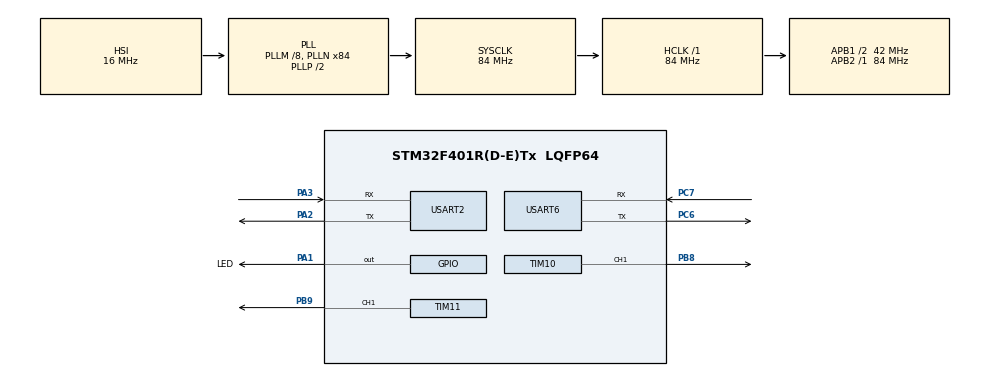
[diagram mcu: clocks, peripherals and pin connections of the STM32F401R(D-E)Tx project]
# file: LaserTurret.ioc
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FREERTOS.Mutexes01=myMutex01,Dynamic,NULL
FREERTOS.Tasks01=defaultTask,0,128,Thread1,Default,NULL,Dynamic,NULL,NULL;myTask02,-3,128,Thread2,Default,NULL,Dynamic,NULL,NULL
Mcu.Family=STM32F4
Mcu.Name=STM32F401R(D-E)Tx
Mcu.Package=LQFP64
NVIC.PriorityGroup=NVIC_PRIORITYGROUP_4
NVIC.TIM3_IRQn=true\:0\:0\:false\:false\:true\:false\:false
NVIC.TimeBase=TIM3_IRQn
NVIC.TimeBaseIP=TIM3
PA1.GPIO_Label=LED
PA1.Signal=GPIO_Output
PA2.Mode=Asynchronous
PA2.Signal=USART2_TX
PA3.Mode=Asynchronous
PA3.Signal=USART2_RX
PB8.Signal=S_TIM10_CH1
PB9.Signal=S_TIM11_CH1
PC6.Mode=Asynchronous
PC6.Signal=USART6_TX
PC7.Mode=Asynchronous
PC7.Signal=USART6_RX
ProjectManager.HeapSize=0x200
ProjectManager.StackSize=0x400
ProjectManager.TargetToolchain=TrueSTUDIO
RCC.48MHZClocksFreq_Value=33600000
RCC.AHBFreq_Value=84000000
RCC.APB1CLKDivider=RCC_HCLK_DIV2
RCC.APB1Freq_Value=42000000
RCC.APB1TimFreq_Value=84000000
RCC.APB2Freq_Value=84000000
RCC.APB2TimFreq_Value=84000000
RCC.CortexFreq_Value=84000000
RCC.HCLKFreq_Value=84000000
RCC.HSE_VALUE=25000000
RCC.HSI_VALUE=16000000
RCC.LSE_VALUE=32768
RCC.PLLM=8
RCC.PLLN=84
RCC.PLLQ=5
RCC.SYSCLKFreq_VALUE=84000000
RCC.SYSCLKSource=RCC_SYSCLKSOURCE_PLLCLK
RCC.VCOOutputFreq_Value=168000000
SH.S_TIM10_CH1.0=TIM10_CH1,PWM Generation1 CH1
SH.S_TIM11_CH1.0=TIM11_CH1,PWM Generation1 CH1
TIM10.Channel=TIM_CHANNEL_1
TIM10.Period=64615
TIM10.Prescaler=25
TIM10.Pulse=4846
TIM11.Channel=TIM_CHANNEL_1
TIM11.Period=64615
TIM11.Prescaler=25
TIM11.Pulse=4846
USART2.VirtualMode=VM_ASYNC
USART6.VirtualMode=VM_ASYNC
VP_FREERTOS_VS_ENABLE.Mode=Enabled
VP_SYS_VS_tim3.Mode=TIM3
VP_TIM10_VS_ClockSourceINT.Mode=Enable_Timer
VP_TIM11_VS_ClockSourceINT.Mode=Enable_Timer
board=custom

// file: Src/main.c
/**
  ******************************************************************************
  * @file           : main.c
  * @brief          : Main program body
  ******************************************************************************
  * This notice applies to any and all portions of this file
  * that are not between comment pairs USER CODE BEGIN and
  * USER CODE END. Other portions of this file, whether
  * inserted by the user or by software development tools
  * are owned by their respective copyright owners.
  *
  * Copyright (c) 2018 STMicroelectronics International N.V.
  * All rights reserved.
  *
  * Redistribution and use in source and binary forms, with or without
  * modification, are permitted, provided that the following conditions are met:
  *
  * 1. Redistribution of source code must retain the above copyright notice,
  *    this list of conditions and the following disclaimer.
  * 2. Redistributions in binary form must reproduce the above copyright notice,
  *    this list of conditions and the following disclaimer in the documentation
  *    and/or other materials provided with the distribution.
  * 3. Neither the name of STMicroelectronics nor the names of other
  *    contributors to this software may be used to endorse or promote products
  *    derived from this software without specific written permission.
  * 4. This software, including modifications and/or derivative works of this
  *    software, must execute solely and exclusively on microcontroller or
  *    microprocessor devices manufactured by or for STMicroelectronics.
  * 5. Redistribution and use of this software other than as permitted under
  *    this license is void and will automatically terminate your rights under
  *    this license.
  *
  * THIS SOFTWARE IS PROVIDED BY STMICROELECTRONICS AND CONTRIBUTORS "AS IS"
  * AND ANY EXPRESS, IMPLIED OR STATUTORY WARRANTIES, INCLUDING, BUT NOT
  * LIMITED TO, THE IMPLIED WARRANTIES OF MERCHANTABILITY, FITNESS FOR A
  * PARTICULAR PURPOSE AND NON-INFRINGEMENT OF THIRD PARTY INTELLECTUAL PROPERTY
  * RIGHTS ARE DISCLAIMED TO THE FULLEST EXTENT PERMITTED BY LAW. IN NO EVENT
  * SHALL STMICROELECTRONICS OR CONTRIBUTORS BE LIABLE FOR ANY DIRECT, INDIRECT,
  * INCIDENTAL, SPECIAL, EXEMPLARY, OR CONSEQUENTIAL DAMAGES (INCLUDING, BUT NOT
  * LIMITED TO, PROCUREMENT OF SUBSTITUTE GOODS OR SERVICES; LOSS OF USE, DATA,
  * OR PROFITS; OR BUSINESS INTERRUPTION) HOWEVER CAUSED AND ON ANY THEORY OF
  * LIABILITY, WHETHER IN CONTRACT, STRICT LIABILITY, OR TORT (INCLUDING
  * NEGLIGENCE OR OTHERWISE) ARISING IN ANY WAY OUT OF THE USE OF THIS SOFTWARE,
  * EVEN IF ADVISED OF THE POSSIBILITY OF SUCH DAMAGE.
  *
  ******************************************************************************
  */
#include "main.h"
#include "stm32f4xx_hal.h"
#include "cmsis_os.h"

/* USER CODE BEGIN Includes */
#include <stdio.h>
#include <stdlib.h>
#include <math.h>
/* USER CODE END Includes */

TIM_HandleTypeDef htim10;
TIM_HandleTypeDef htim11;

UART_HandleTypeDef huart2;
UART_HandleTypeDef huart6;

osThreadId defaultTaskHandle;
osThreadId myTask02Handle;
osMutexId myMutex01Handle;

/* USER CODE BEGIN PV */

/* Private variables ---------------------------------------------------------*/
char UARTdata[8];
char Xdata[4];
char Ydata[4];
uint32_t X;
uint32_t Y;
uint8_t UARTerror;
uint32_t xTemp;
uint32_t yTemp;

/* USER CODE END PV */

void SystemClock_Config(void);
static void MX_GPIO_Init(void);
static void MX_USART2_UART_Init(void);
static void MX_TIM10_Init(void);
static void MX_TIM11_Init(void);
static void MX_USART6_UART_Init(void);
void Thread1(void const * argument);
void Thread2(void const * argument);
void HAL_TIM_MspPostInit(TIM_HandleTypeDef *htim);

/* USER CODE BEGIN PFP */
/* Private function prototypes -----------------------------------------------*/

/* USER CODE END PFP */

/* USER CODE BEGIN 0 */
void UART_Send_Int(UART_HandleTypeDef huart, int intIn)
{
	char intOut[sizeof(intIn)];
	sprintf(intOut, "%d", intIn);
	HAL_UART_Transmit(&huart, intOut, sizeof(intOut), 0xFFF);
	HAL_UART_Transmit(&huart, '\n', 1, 0xFFF);
}

void UART_Receive_Int(UART_HandleTypeDef huart, char dataArr[])
{
	  HAL_UART_Receive(&huart, dataArr, 8, 0xFFF);

	  if(dataArr[0] != '\0')
	  {
		  for(int i = 0; i <= 3; i++)
		  {
			  if(dataArr[i] == 'E')
			  {
				  Xdata[i] = '\0';
				  break;
			  }
			  Xdata[i] = dataArr[i];
		  }

		  for(int j = 4; j <= 7; j++)
		  {
			  if(dataArr[j] == 'E')
			  {
				  Ydata[j-4] = '\0';
				  break;
			  }
			  Ydata[j-4] = dataArr[j];
		  }
	  }
}

void servoPWM(uint32_t x, uint32_t y)
{
	xTemp = 1700+(5*x);
	yTemp = 1700+(5*y);

	//UART_Send_Int(huart2, xTemp);
	  __HAL_TIM_SET_COMPARE(&htim10, TIM_CHANNEL_1, xTemp);
	  __HAL_TIM_SET_COMPARE(&htim11, TIM_CHANNEL_1, yTemp);
}

/* USER CODE END 0 */

int main(void)
{
  /* USER CODE BEGIN 1 */
	UARTdata[0] = '\0';
  /* USER CODE END 1 */

  /* MCU Configuration----------------------------------------------------------*/

  /* Reset of all peripherals, Initializes the Flash interface and the Systick. */
  HAL_Init();

  /* Configure the system clock */
  SystemClock_Config();

  /* Initialize all configured peripherals */
  MX_GPIO_Init();
  MX_USART2_UART_Init();
  MX_TIM10_Init();
  MX_TIM11_Init();
  MX_USART6_UART_Init();
  /* USER CODE BEGIN 2 */
  HAL_GPIO_WritePin(GPIOA, GPIO_PIN_1, 0);
  /* USER CODE END 2 */

  /* Create the mutex(es) */
  /* definition and creation of myMutex01 */
  osMutexDef(myMutex01);
  myMutex01Handle = osMutexCreate(osMutex(myMutex01));

  /* Create the thread(s) */
  /* definition and creation of defaultTask */
  osThreadDef(defaultTask, Thread1, osPriorityNormal, 0, 128);
  defaultTaskHandle = osThreadCreate(osThread(defaultTask), NULL);

  /* definition and creation of myTask02 */
  osThreadDef(myTask02, Thread2, osPriorityIdle, 0, 128);
  myTask02Handle = osThreadCreate(osThread(myTask02), NULL);

  /* USER CODE BEGIN RTOS_QUEUES */
  /* add queues, ... */
  //__HAL_TIM_SET_COMPARE(&htim10, TIM_CHANNEL_1, 3000);
  //__HAL_TIM_SET_COMPARE(&htim11, TIM_CHANNEL_1, 3000);
  /* USER CODE END RTOS_QUEUES */

  /* Start scheduler */
  osKernelStart();

  /* We should never get here as control is now taken by the scheduler */

  /* Infinite loop */
  /* USER CODE BEGIN WHILE */
  while (1)
  {

	  //UART_Send_Int(huart2, UARTdata);
  /* USER CODE END WHILE */

  }

}

void SystemClock_Config(void)
{

  RCC_OscInitTypeDef RCC_OscInitStruct;
  RCC_ClkInitTypeDef RCC_ClkInitStruct;

    /**Configure the main internal regulator output voltage
    */
  __HAL_RCC_PWR_CLK_ENABLE();

  __HAL_PWR_VOLTAGESCALING_CONFIG(PWR_REGULATOR_VOLTAGE_SCALE2);

    /**Initializes the CPU, AHB and APB busses clocks
    */
  RCC_OscInitStruct.OscillatorType = RCC_OSCILLATORTYPE_HSI;
  RCC_OscInitStruct.HSIState = RCC_HSI_ON;
  RCC_OscInitStruct.HSICalibrationValue = 16;
  RCC_OscInitStruct.PLL.PLLState = RCC_PLL_ON;
  RCC_OscInitStruct.PLL.PLLSource = RCC_PLLSOURCE_HSI;
  RCC_OscInitStruct.PLL.PLLM = 8;
  RCC_OscInitStruct.PLL.PLLN = 84;
  RCC_OscInitStruct.PLL.PLLP = RCC_PLLP_DIV2;
  RCC_OscInitStruct.PLL.PLLQ = 5;
  if (HAL_RCC_OscConfig(&RCC_OscInitStruct) != HAL_OK)
  {
    _Error_Handler(__FILE__, __LINE__);
  }

    /**Initializes the CPU, AHB and APB busses clocks
    */
  RCC_ClkInitStruct.ClockType = RCC_CLOCKTYPE_HCLK|RCC_CLOCKTYPE_SYSCLK
                              |RCC_CLOCKTYPE_PCLK1|RCC_CLOCKTYPE_PCLK2;
  RCC_ClkInitStruct.SYSCLKSource = RCC_SYSCLKSOURCE_PLLCLK;
  RCC_ClkInitStruct.AHBCLKDivider = RCC_SYSCLK_DIV1;
  RCC_ClkInitStruct.APB1CLKDivider = RCC_HCLK_DIV2;
  RCC_ClkInitStruct.APB2CLKDivider = RCC_HCLK_DIV1;

  if (HAL_RCC_ClockConfig(&RCC_ClkInitStruct, FLASH_LATENCY_2) != HAL_OK)
  {
    _Error_Handler(__FILE__, __LINE__);
  }

    /**Configure the Systick interrupt time
    */
  HAL_SYSTICK_Config(HAL_RCC_GetHCLKFreq()/1000);

    /**Configure the Systick
    */
  HAL_SYSTICK_CLKSourceConfig(SYSTICK_CLKSOURCE_HCLK);

  /* SysTick_IRQn interrupt configuration */
  HAL_NVIC_SetPriority(SysTick_IRQn, 15, 0);
}

/* TIM10 init function */
static void MX_TIM10_Init(void)
{

  TIM_OC_InitTypeDef sConfigOC;

  htim10.Instance = TIM10;
  htim10.Init.Prescaler = 25;
  htim10.Init.CounterMode = TIM_COUNTERMODE_UP;
  htim10.Init.Period = 64615;
  htim10.Init.ClockDivision = TIM_CLOCKDIVISION_DIV1;
  if (HAL_TIM_Base_Init(&htim10) != HAL_OK)
  {
    _Error_Handler(__FILE__, __LINE__);
  }

  if (HAL_TIM_PWM_Init(&htim10) != HAL_OK)
  {
    _Error_Handler(__FILE__, __LINE__);
  }

  sConfigOC.OCMode = TIM_OCMODE_PWM1;
  sConfigOC.Pulse = 4846;
  sConfigOC.OCPolarity = TIM_OCPOLARITY_HIGH;
  sConfigOC.OCFastMode = TIM_OCFAST_DISABLE;
  if (HAL_TIM_PWM_ConfigChannel(&htim10, &sConfigOC, TIM_CHANNEL_1) != HAL_OK)
  {
    _Error_Handler(__FILE__, __LINE__);
  }

  HAL_TIM_MspPostInit(&htim10);

}

/* TIM11 init function */
static void MX_TIM11_Init(void)
{

  TIM_OC_InitTypeDef sConfigOC;

  htim11.Instance = TIM11;
  htim11.Init.Prescaler = 25;
  htim11.Init.CounterMode = TIM_COUNTERMODE_UP;
  htim11.Init.Period = 64615;
  htim11.Init.ClockDivision = TIM_CLOCKDIVISION_DIV1;
  if (HAL_TIM_Base_Init(&htim11) != HAL_OK)
  {
    _Error_Handler(__FILE__, __LINE__);
  }

  if (HAL_TIM_PWM_Init(&htim11) != HAL_OK)
  {
    _Error_Handler(__FILE__, __LINE__);
  }

  sConfigOC.OCMode = TIM_OCMODE_PWM1;
  sConfigOC.Pulse = 4846;
  sConfigOC.OCPolarity = TIM_OCPOLARITY_HIGH;
  sConfigOC.OCFastMode = TIM_OCFAST_DISABLE;
  if (HAL_TIM_PWM_ConfigChannel(&htim11, &sConfigOC, TIM_CHANNEL_1) != HAL_OK)
  {
    _Error_Handler(__FILE__, __LINE__);
  }

  HAL_TIM_MspPostInit(&htim11);

}

/* USART2 init function */
static void MX_USART2_UART_Init(void)
{

  huart2.Instance = USART2;
  huart2.Init.BaudRate = 115200;
  huart2.Init.WordLength = UART_WORDLENGTH_8B;
  huart2.Init.StopBits = UART_STOPBITS_1;
  huart2.Init.Parity = UART_PARITY_NONE;
  huart2.Init.Mode = UART_MODE_TX_RX;
  huart2.Init.HwFlowCtl = UART_HWCONTROL_NONE;
  huart2.Init.OverSampling = UART_OVERSAMPLING_16;
  if (HAL_UART_Init(&huart2) != HAL_OK)
  {
    _Error_Handler(__FILE__, __LINE__);
  }

}

/* USART6 init function */
static void MX_USART6_UART_Init(void)
{

  huart6.Instance = USART6;
  huart6.Init.BaudRate = 115200;
  huart6.Init.WordLength = UART_WORDLENGTH_8B;
  huart6.Init.StopBits = UART_STOPBITS_1;
  huart6.Init.Parity = UART_PARITY_NONE;
  huart6.Init.Mode = UART_MODE_TX_RX;
  huart6.Init.HwFlowCtl = UART_HWCONTROL_NONE;
  huart6.Init.OverSampling = UART_OVERSAMPLING_16;
  if (HAL_UART_Init(&huart6) != HAL_OK)
  {
    _Error_Handler(__FILE__, __LINE__);
  }

}

/** Configure pins as
        * Analog
        * Input
        * Output
        * EVENT_OUT
        * EXTI
*/
static void MX_GPIO_Init(void)
{

  GPIO_InitTypeDef GPIO_InitStruct;

  /* GPIO Ports Clock Enable */
  __HAL_RCC_GPIOA_CLK_ENABLE();
  __HAL_RCC_GPIOC_CLK_ENABLE();
  __HAL_RCC_GPIOB_CLK_ENABLE();

  /*Configure GPIO pin Output Level */
  HAL_GPIO_WritePin(LED_GPIO_Port, LED_Pin, GPIO_PIN_RESET);

  /*Configure GPIO pin : LED_Pin */
  GPIO_InitStruct.Pin = LED_Pin;
  GPIO_InitStruct.Mode = GPIO_MODE_OUTPUT_PP;
  GPIO_InitStruct.Pull = GPIO_NOPULL;
  GPIO_InitStruct.Speed = GPIO_SPEED_FREQ_LOW;
  HAL_GPIO_Init(LED_GPIO_Port, &GPIO_InitStruct);

}

/* Thread1 function */
void Thread1(void const * argument)
{

  /* USER CODE BEGIN 5 */

	  HAL_TIM_PWM_Start(&htim10, TIM_CHANNEL_1);
	  HAL_TIM_PWM_Start(&htim11, TIM_CHANNEL_1);
  /* Infinite loop */
  for(;;)
  {
    osDelay(3);
	  xSemaphoreTake(myMutex01Handle, portMAX_DELAY);
	  X = atoi(Xdata);
	  Y = atoi(Ydata);
	  if(X == 40)
	  {
		  HAL_GPIO_WritePin(GPIOA, GPIO_PIN_1, 1);
	  }
	  else
	  {
		  HAL_GPIO_WritePin(GPIOA, GPIO_PIN_1, 0);
	  }

	  servoPWM(X,Y);

	  xSemaphoreGive(myMutex01Handle);

  }
  /* USER CODE END 5 */
}

/* Thread2 function */
void Thread2(void const * argument)
{
  /* USER CODE BEGIN Thread2 */
  /* Infinite loop */
  for(;;)
  {
	  xSemaphoreTake(myMutex01Handle, portMAX_DELAY);
	  UART_Receive_Int(huart6, UARTdata);
	  xSemaphoreGive(myMutex01Handle);

	  osDelay(1);
  }
  /* USER CODE END Thread2 */
}

void HAL_TIM_PeriodElapsedCallback(TIM_HandleTypeDef *htim)
{
  if (htim->Instance == TIM3) {
    HAL_IncTick();
  }
}

void _Error_Handler(char *file, int line)
{
  while(1)
  {
  }
}

/************************ (C) COPYRIGHT STMicroelectronics *****END OF FILE****/
